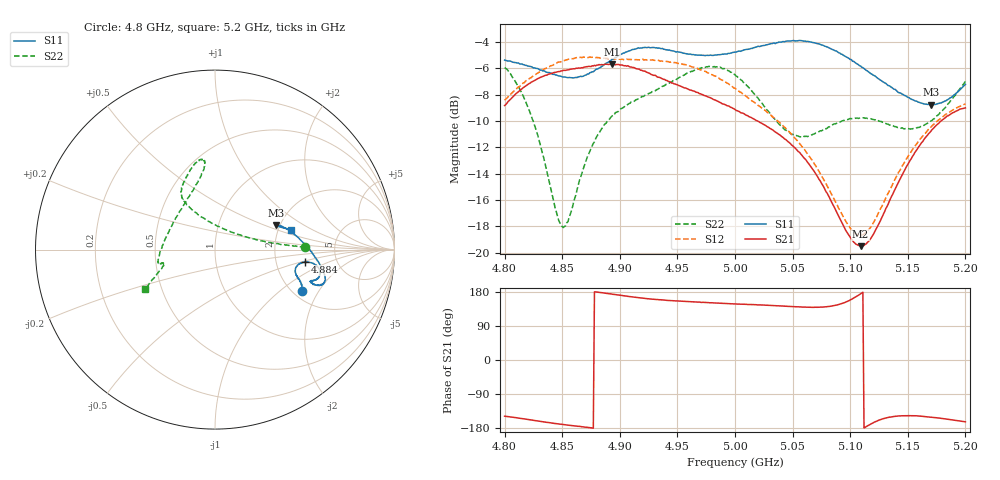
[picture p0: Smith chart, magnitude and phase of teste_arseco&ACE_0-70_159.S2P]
! Network Analyzer HP8722D
! Hewlett-Packard
! Data name: Linha & Wilkinson
! Saver's name: Rodrigo Anjos
! Comments: Teste da utilização de aquisição
! continua pelo VNA HP8722D
! Time and date: 8/5/2025 14:05
!  Frequency  S11  S21  S12  S22
# HZ  S  MA R 50
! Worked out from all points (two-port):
!   401 points, 4.8 GHz to 5.2 GHz, reference 50 ohm
!   highest |S21| = -5.70 dB at 4.893 GHz (marker M1); lowest = -19.5 dB at 5.109 GHz (marker M2)
!   |S21| within 3 dB of the highest: 4.802 GHz to 4.989 GHz (187.2 MHz wide, 3.82 % of centre)
!   lowest |S11| = -8.8 dB at 5.17 GHz (marker M3), VSWR 2.15, Z = 94.9 + j29.9 ohm
!   |S11| at or under -10 dB: nowhere
!   |S22| runs from -18.1 to -5.9 dB; largest |S21 - S12| = 1.1
!   S11 on the Smith chart (normalised r, x): 4.8 GHz: 2.24, -1.45; 4.884 GHz: 2.95, -0.55; 5.2 GHz: 2.33, +0.64
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4.8e9  0.5376 -25.4  0.3617 -148.3  0.3791 11.0  0.5037 1.6
4.812e9  0.5243 -22.4  0.4079 -153.2  0.4259 9.1  0.4262 2.8
4.823e9  0.508 -20.4  0.4431 -158.2  0.4613 7.8  0.3316 6.1
4.849e9  0.4668 -16.0  0.4892 -169.5  0.5301 3.5  0.127 56.9
4.855e9  0.4612 -14.4  0.4936 -171.9  0.5411 2.6  0.1312 84.3
4.867e9  0.4659 -11.1  0.5032 -176.1  0.5494 0.9  0.1994 113.2
4.884e9  0.5079 -7.8  0.5171 177.7  0.5483 -0.3  0.2942 122.2
4.893e9  0.5404 -7.7  0.5189 173.9  0.5451 -0.6  0.3291 122.8
4.914e9  0.5934 -11.1  0.4992 165.3  0.5398 0.0  0.3804 119.5
4.934e9  0.5976 -15.5  0.4629 159.0  0.5363 -1.1  0.4199 113.7
4.975e9  0.5604 -18.5  0.393 151.7  0.4861 -4.7  0.5075 100.0
5e9  0.5765 -19.2  0.3496 147.9  0.4208 -4.7  0.4728 97.2
5.018e9  0.6023 -19.2  0.3182 146.0  0.3677 -2.3  0.3945 103.6
5.044e9  0.634 -17.4  0.2688 142.0  0.2963 3.2  0.2916 131.1
5.067e9  0.6281 -13.3  0.2086 139.1  0.2243 9.5  0.2803 164.4
5.098e9  0.5478 -2.9  0.1183 155.4  0.1279 36.5  0.32 -170.4
5.109e9  0.5109 2.2  0.1059 174.6  0.1166 57.7  0.3247 -167.0
5.118e9  0.4776 6.6  0.1135 -168.6  0.1253 75.7  0.3222 -166.1
5.134e9  0.4298 14.5  0.157 -150.8  0.1717 94.8  0.3052 -165.2
5.154e9  0.3806 20.8  0.2317 -147.2  0.2462 101.9  0.295 -164.2
5.17e9  0.3647 22.0  0.2888 -150.6  0.2994 102.9  0.3155 -160.4
5.2e9  0.4353 14.7  0.3543 -163.1  0.367 103.4  0.4463 -150.3
